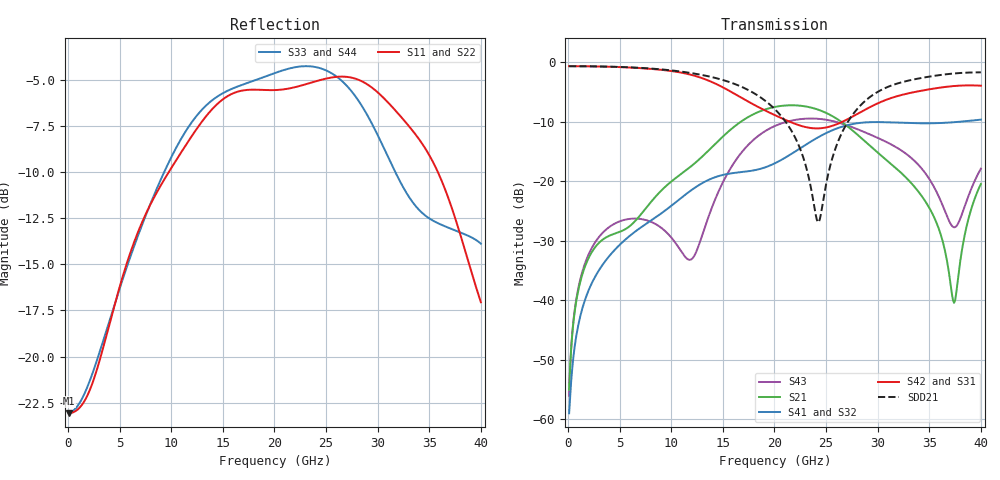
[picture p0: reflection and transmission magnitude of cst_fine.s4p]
! E_s8_L1L3_p1000_oval_g2: pair L1→L3, pitch 1 mm, one oval antipad, 2 GND vias
! stackup: 8-layer 1.6 mm FR-4 (generic)
! ports: 1 P near, 2 N near, 3 P far, 4 N far
! CST Studio Suite 2025.5 Release from 2025-05-30, time domain (FIT, hexahedral, PBA), 404096 mesh cells, 94 s
! mesh: {'lpw': 30.0, 'lpb': 30.0, 'minstep': 0.0, 'ratio': 20}; ports: port 1 (face); port 2 (face); port 3 (face); port 4 (face)
! interpolated from CST's 1001 samples to the case grid
# Hz S RI R 50
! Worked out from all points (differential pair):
!   400 points, 100 MHz to 40 GHz, reference 50 ohm
!   strongest paths, dB at 100 MHz, 10.1 GHz, 20.1 GHz, 30.1 GHz, 40 GHz:
!     S42: -0.6, -1.5, -8.9, -6.8, -3.9
!     S31: -0.6, -1.5, -8.9, -6.8, -3.9
!     S41: -59.0, -24.0, -16.9, -10.0, -9.6
!     S32: -59.0, -24.0, -16.9, -10.0, -9.6
!     S21: -55.1, -19.9, -7.5, -15.3, -20.4
!     S43: -56.1, -29.7, -10.6, -12.8, -17.9
!   taken as a pair (ports 2,1 in; 4,3 out), SDD21 dB: -0.6, -1.4, -8.0, -4.9, -1.7
!   lowest |S11| = -23.1 dB at 100 MHz (marker M1), VSWR 1.15, Z = 43.4 + j0.00709 ohm
!   |S11| at or under -10 dB: start of sweep to 9.766 GHz; 35.82 GHz to end of sweep
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1e8  -0.0702 8.12e-05  0.0013 0.00119  0.9289 -0.0345  0.000913 -0.00066
     0.0013 0.00119  -0.0702 8.12e-05  0.000913 -0.00066  0.9289 -0.0345
     0.9289 -0.0345  0.000905 -0.000659  -0.0705 8.08e-05  0.000944 0.00126
     0.000905 -0.000659  0.9289 -0.0345  0.000944 0.00126  -0.0705 8.08e-05
8.2e9  0.00555 0.2654  0.0572 -0.04  -0.8772 -0.061  0.00185 0.0478
       0.0572 -0.04  0.00555 0.2654  0.00185 0.0478  -0.8772 -0.061
       -0.8772 -0.061  0.00185 0.0478  -0.00848 0.2681  -0.00574 -0.0446
       0.00185 0.0478  -0.8772 -0.061  -0.00574 -0.0446  -0.00848 0.2681
1.53e10  0.1321 -0.4865  -0.2505 -0.0226  0.5358 0.2644  -0.062 -0.0965
         -0.2505 -0.0226  0.1321 -0.4865  -0.062 -0.0965  0.5358 0.2644
         0.5358 0.2644  -0.062 -0.0965  0.1028 -0.5118  -0.1034 0.0378
         -0.062 -0.0965  0.5358 0.2644  -0.1034 0.0378  0.1028 -0.5118
2.27e10  -0.2508 0.4815  0.4163 -0.1087  -0.0168 -0.29  0.0979 -0.1683
         0.4163 -0.1087  -0.2508 0.4815  0.0979 -0.1683  -0.0168 -0.29
         -0.0168 -0.29  0.0979 -0.1683  -0.0171 0.6108  0.2437 -0.2293
         0.0979 -0.1683  -0.0168 -0.29  0.2437 -0.2293  -0.017 0.6108
3e10  0.3088 -0.4177  -0.1716 0.0325  -0.4357 0.1216  0.1011 0.2982
      -0.1716 0.0325  0.3088 -0.4177  0.1011 0.2982  -0.4357 0.1216
      -0.4357 0.1216  0.1011 0.2983  0.0576 -0.3937  -0.0393 0.2286
      0.1011 0.2983  -0.4357 0.1216  -0.0393 0.2286  0.0576 -0.3937
3.74e10  -0.2 0.1366  -0.00204 0.00928  0.6285 0.0741  -0.0854 -0.3023
         -0.00204 0.00928  -0.2 0.1366  -0.0854 -0.3023  0.6285 0.0741
         0.6285 0.074  -0.0854 -0.3023  -0.0316 0.2179  0.0389 -0.013
         -0.0854 -0.3023  0.6285 0.074  0.0389 -0.013  -0.0316 0.2179
4e10  -0.00428 0.1402  -0.0443 0.0841  0.3981 -0.4971  -0.3182 -0.0878
      -0.0443 0.0841  -0.00428 0.1402  -0.3182 -0.0878  0.3981 -0.4971
      0.3981 -0.4971  -0.3182 -0.0878  0.1326 0.1526  0.1267 -0.0167
      -0.3182 -0.0878  0.3981 -0.4971  0.1267 -0.0167  0.1326 0.1526
